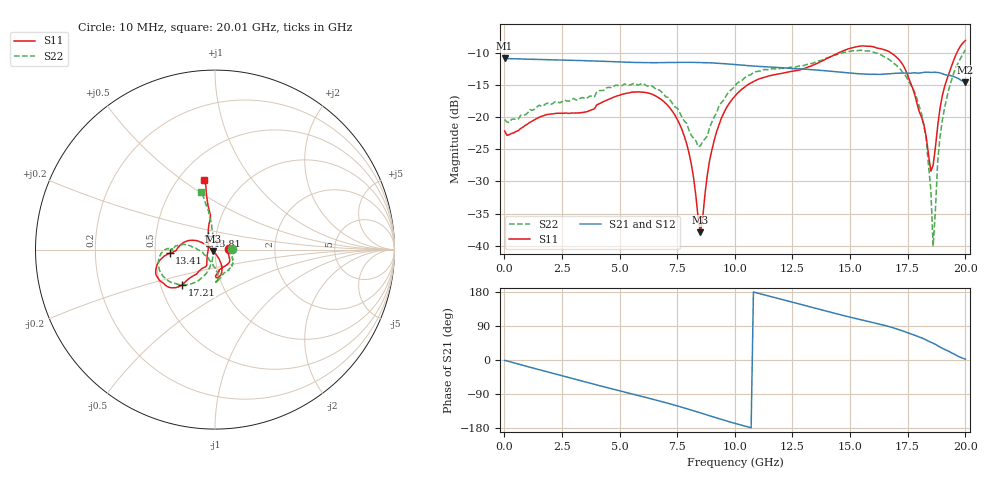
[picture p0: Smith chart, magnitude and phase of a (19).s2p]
! Hittite Microwave Corporation
! 2 Elizabeth Drive
! Chelmsford, MA 01824
! http://www.hittite.com
! Tel: 978-250-3343
! Fax: 978-250-3373
! Device:  HMC424LP3
! Description: 0.5 dB GaAs MMIC 6-Bit Digital Attenuator
! Frequency:  DC -  13.00 GHz
! Package:  LP3  - 3x3 mm Quad Flatpack No-Lead (QFN) Plastic Package: 16 pin
! Ports:  2 RF, 7 DC
!  Pad  1  = Ground
!  Pad  2  = RF IN  = Port 1
!  Pad  3  = Ground
!  Pad  4  = V6
!  Pad  5  = V5
!  Pad  6  = V4
!  Pad  7  = V3
!  Pad  8  = V2
!  Pad  9  = V1
!  Pad 10  = Ground
!  Pad 11  = RF OUT  = Port 2
!  Pad 12  = Ground
!  Pad 15  = VEE
! Control:  -5 Volt control voltage
! State:  17
! Attenuation:  8.5 dB
! Voltages:  Vdd = -5.00 Volts  Idd =  -2.432 mA
!  V1  = -5.00 Volts  I1  =  -1.0 uA
!  V2  = 0.00 Volts  I2  =  29.0 uA
!  V3  = 0.00 Volts  I3  =  30.0 uA
!  V4  = 0.00 Volts  I4  =  29.0 uA
!  V5  = -5.00 Volts  I5  =  -1.0 uA
!  V6  = 0.00 Volts  I6  =  30.0 uA
! Data:  The device was measured on evaluation board 105354-1.
!  Data was collected using a calibrated network analyzer.
!  The evaluation circuit board was modeled and simulated.  This was use
!  to removed the evaluation board circuit from the measured data.
!  The reference plane is the edge of the package pin.
! Misc:  Lot xxxx, Unit 1
!  Application 20120001, Data collected in Application 20090083
! Date Measured:  2009-09-15
! Date:  2012-05-14  MJV
! Note:
!  Hittite supplies this data as a sample of measured data at the package pin
!  for this product.  Your particular data for this product may vary.
!  Data was taken at 25 degrees C.
!  Hittite reserves the right to change this data at anytime.
# GHz S MA R 50
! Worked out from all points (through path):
!   201 points, 10 MHz to 20.01 GHz, reference 50 ohm
!   highest |S21| = -10.87 dB at 10 MHz (marker M1); lowest = -14.6 dB at 20.01 GHz (marker M2)
!   group delay of S21, straight-line fit = 47 ps
!   lowest |S11| = -37.9 dB at 8.51 GHz (marker M3), VSWR 1.03, Z = 49.1 - j0.828 ohm
!   |S11| at or under -10 dB: start of sweep to 14.52 GHz; 16.77 GHz to 19.64 GHz (2.873 GHz wide, 15.8 % of centre)
!   |S22| runs from -40.0 to -9.6 dB; largest |S21 - S12| = 0.0012
!   S11 on the Smith chart (normalised r, x): 10 MHz: 1.17, +0.01; 13.41 GHz: 0.60, -0.03; 17.21 GHz: 0.64, -0.27; 18.81 GHz: 0.92, +0.14; 20.01 GHz: 0.66, +0.61
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0.01  0.07801 3.4  0.2859 -1.0  0.2865 -1.2  0.09577 1.8
3.41  0.1087 -66.7  0.2745 -56.3  0.2743 -56.3  0.1419 -64.3
5.51  0.1558 -87.7  0.2663 -89.1  0.266 -89.1  0.179 -88.6
6.71  0.1408 -76.2  0.2648 -107.8  0.2643 -107.8  0.1628 -84.4
7.91  0.06225 -66.5  0.2662 -128.4  0.2658 -128.4  0.08941 -96.8
8.21  0.034 -73.2  0.266 -133.9  0.2656 -133.9  0.06858 -114.2
8.51  0.01271 -138.4  0.2655 -139.6  0.265 -139.5  0.05996 -143.2
8.81  0.03563 157.4  0.2642 -145.3  0.2639 -145.2  0.07133 -169.1
9.11  0.06638 151.5  0.2629 -151.0  0.2626 -151.0  0.1007 178.6
10.01  0.1457 159.2  0.2558 -167.3  0.2554 -167.3  0.1754 170.3
13.41  0.2535 -175.5  0.2331 137.9  0.2327 137.9  0.2624 178.7
15.11  0.3457 -162.0  0.2187 111.5  0.2184 111.5  0.3274 -165.8
16.71  0.3215 -138.4  0.2168 87.9  0.2166 87.9  0.2792 -135.7
17.21  0.2682 -133.3  0.2198 78.4  0.2196 78.4  0.232 -124.6
17.81  0.1496 -126.7  0.2209 65.3  0.2205 65.3  0.1557 -112.6
18.21  0.08717 -121.7  0.2226 55.8  0.2224 55.8  0.08535 -106.2
18.51  0.03801 -176.4  0.2224 47.0  0.222 47.0  0.02726 -119.1
18.61  0.04226 149.0  0.2225 44.2  0.2222 44.2  0.009948 -163.0
18.81  0.08582 115.3  0.2219 37.6  0.2217 37.6  0.04585 98.2
19.01  0.1469 103.2  0.2171 30.9  0.2169 30.9  0.09418 97.7
19.31  0.2209 98.4  0.2112 22.2  0.2109 22.3  0.1703 98.7
20.01  0.3937 99.3  0.1864 2.1  0.1865 2.0  0.3319 104.1
